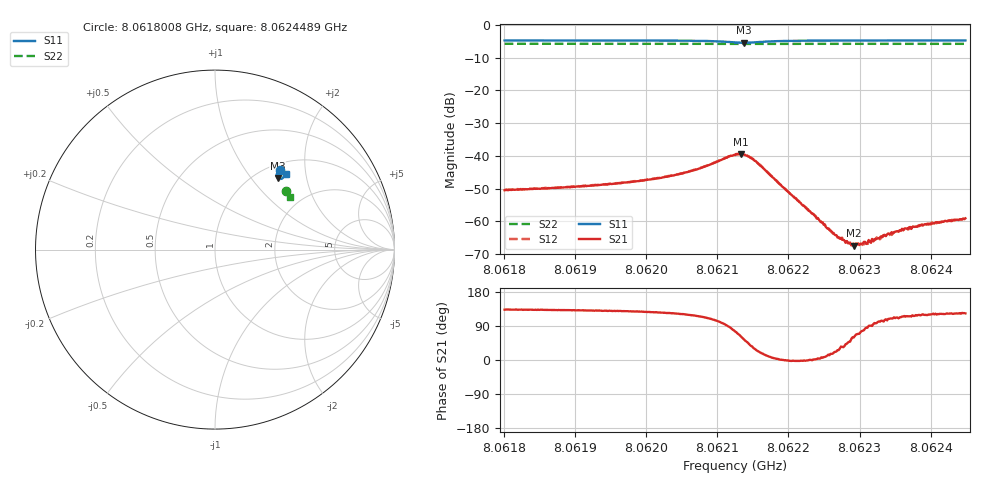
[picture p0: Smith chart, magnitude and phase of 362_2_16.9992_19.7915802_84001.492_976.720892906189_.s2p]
#  HZ  S  RI  R  50.00
! Rohde & Schwarz Vector Network Analyzer
! Rohde-Schwarz,ZNB20-2Port,1311601062101988,3.16
! Created: UTC 3/20/2024, 11:08:16 PM
! freq[Hz]  re:S11  im:S11  re:S21  im:S21  re:S12  im:S12  re:S22  im:S22
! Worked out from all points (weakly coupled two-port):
!   401 points, 8.0618008 GHz to 8.0624489 GHz, reference 50 ohm
!   highest |S21| = -39.38 dB at 8.0621329 GHz (marker M1); lowest = -67.4 dB at 8.0622917 GHz (marker M2)
!   lowest |S11| = -5.5 dB at 8.0621378 GHz (marker M3), VSWR 3.26, Z = 61.7 + j68.6 ohm
!   |S11| at or under -10 dB: nowhere
!   |S22| runs from -5.9 to -5.8 dB; largest |S21 - S12| = 0.00075
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8.06180078e9  0.3644 0.4461  -0.00203 0.0022  -0.00194 0.00232  0.3971 0.3238
8.06190934e9  0.3717 0.4396  -0.00226 0.00261  -0.00212 0.00274  0.4013 0.3185
8.0620179e9  0.3803 0.4299  -0.00265 0.00373  -0.00248 0.00389  0.4053 0.3127
8.06206813e9  0.3845 0.4202  -0.00279 0.00539  -0.00248 0.00565  0.4072 0.3098
8.06212484e9  0.3664 0.3937  0.00254 0.00996  0.00305 0.01  0.4078 0.3063
8.06213294e9  0.3558 0.3953  0.00497 0.00952  0.00552 0.00928  0.4077 0.306
8.0621378e9  0.3499 0.3989  0.00623 0.00842  0.00677 0.0082  0.4076 0.3061
8.06214752e9  0.3433 0.4103  0.00738 0.00554  0.00783 0.00523  0.4078 0.3062
8.06215725e9  0.344 0.4215  0.007 0.00301  0.00726 0.0027  0.4083 0.3063
8.0622334e9  0.3723 0.4346  0.00132 -1.44e-05  0.00131 -5.98e-05  0.4123 0.3028
8.06226904e9  0.3778 0.4325  0.000524 0.000256  0.000531 0.000201  0.4138 0.301
8.06228039e9  0.3792 0.4317  0.000354 0.000314  0.000384 0.000288  0.4141 0.3002
8.06229173e9  0.3805 0.4309  0.000216 0.000366  0.000238 0.000369  0.4146 0.2998
8.06230307e9  0.3817 0.4303  0.000107 0.000443  0.000111 0.000422  0.4151 0.2991
8.06231279e9  0.3826 0.4296  -1.76e-06 0.000521  2.67e-05 0.000467  0.4154 0.2986
8.06232089e9  0.3834 0.4291  -6.78e-05 0.000512  -2.71e-05 0.000536  0.4158 0.2981
8.06232899e9  0.3841 0.4285  -0.000112 0.000567  -6.54e-05 0.000531  0.4161 0.2979
8.06233548e9  0.3847 0.4282  -0.000165 0.000589  -0.000133 0.000611  0.4161 0.2975
8.06234196e9  0.3852 0.4277  -0.000207 0.000613  -0.000173 0.0006  0.4164 0.297
8.06236302e9  0.3869 0.4266  -0.000344 0.000699  -0.000267 0.000706  0.4173 0.296
8.06238894e9  0.3889 0.425  -0.000441 0.000742  -0.000383 0.000817  0.4182 0.2945
8.0624489e9  0.3929 0.4216  -0.000608 0.000933  -0.000526 0.000933  0.4203 0.2916
